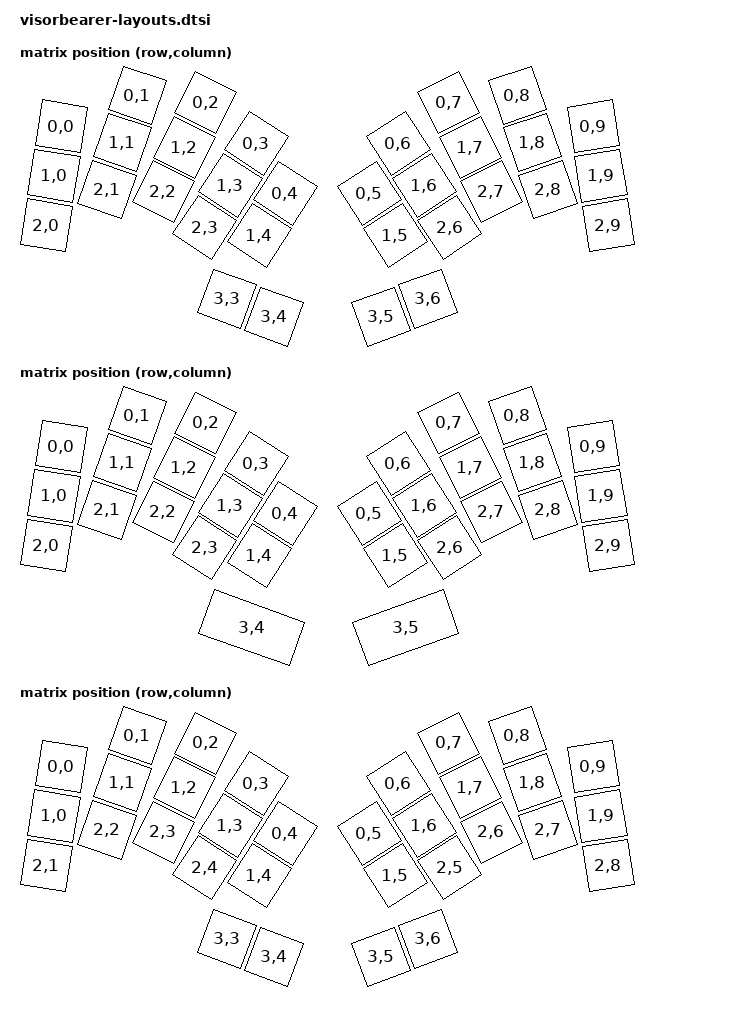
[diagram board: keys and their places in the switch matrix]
#include <physical_layouts.dtsi>

/ {
   visorbearer_33332_transform: visorbearer_33332_transform {
      compatible = "zmk,matrix-transform";
      columns = <10>;
      rows = <4>;

      map = <
            RC(0,0)         RC(0,1)         RC(0,2)         RC(0,3)         RC(0,4)                         RC(0,5)         RC(0,6)         RC(0,7)         RC(0,8)         RC(0,9)
            RC(1,0)         RC(1,1)         RC(1,2)         RC(1,3)         RC(1,4)                         RC(1,5)         RC(1,6)         RC(1,7)         RC(1,8)         RC(1,9)
            RC(2,0)         RC(2,1)         RC(2,2)         RC(2,3)                                                         RC(2,6)         RC(2,7)         RC(2,8)         RC(2,9)
                                                            RC(3,3)         RC(3,4)                         RC(3,5)         RC(3,6)
      >;
   };

   visorbearer_33332_2u_transform: visorbearer_33332_2u_transform {
      compatible = "zmk,matrix-transform";
      columns = <10>;
      rows = <4>;

      map = <
            RC(0,0)         RC(0,1)         RC(0,2)         RC(0,3)         RC(0,4)                         RC(0,5)         RC(0,6)         RC(0,7)         RC(0,8)         RC(0,9)
            RC(1,0)         RC(1,1)         RC(1,2)         RC(1,3)         RC(1,4)                         RC(1,5)         RC(1,6)         RC(1,7)         RC(1,8)         RC(1,9)
            RC(2,0)         RC(2,1)         RC(2,2)         RC(2,3)                                                         RC(2,6)         RC(2,7)         RC(2,8)         RC(2,9)
                                                                            RC(3,4)                         RC(3,5)
      >;
   };

   visorbearer_23332_transform: visorbearer_23332_transform {
      compatible = "zmk,matrix-transform";
      columns = <10>;
      rows = <4>;

      map = <
            RC(0,0)         RC(0,1)         RC(0,2)         RC(0,3)         RC(0,4)                         RC(0,5)         RC(0,6)         RC(0,7)         RC(0,8)         RC(0,9)
            RC(1,0)         RC(1,1)         RC(1,2)         RC(1,3)         RC(1,4)                         RC(1,5)         RC(1,6)         RC(1,7)         RC(1,8)         RC(1,9)
                            RC(2,1)         RC(2,2)         RC(2,3)         RC(2,4)                         RC(2,5)         RC(2,6)         RC(2,7)         RC(2,8)
                                                            RC(3,3)         RC(3,4)                         RC(3,5)         RC(3,6)
      >;
   };

   visorbearer_23332_2u_transform: visorbearer_23332_2u_transform {
      compatible = "zmk,matrix-transform";
      columns = <10>;
      rows = <4>;

      map = <
            RC(0,0)         RC(0,1)         RC(0,2)         RC(0,3)         RC(0,4)                         RC(0,5)         RC(0,6)         RC(0,7)         RC(0,8)         RC(0,9)
            RC(1,0)         RC(1,1)         RC(1,2)         RC(1,3)         RC(1,4)                         RC(1,5)         RC(1,6)         RC(1,7)         RC(1,8)         RC(1,9)
                            RC(2,1)         RC(2,2)         RC(2,3)         RC(2,4)                         RC(2,5)         RC(2,6)         RC(2,7)         RC(2,8)
                                                                            RC(3,4)                         RC(3,5)
      >;
   };

   visorbearer_l23332_transform: visorbearer_l23332_transform {
      compatible = "zmk,matrix-transform";
      columns = <10>;
      rows = <4>;

      map = <
                            RC(0,1)         RC(0,2)         RC(0,3)         RC(0,4)                         RC(0,5)         RC(0,6)         RC(0,7)         RC(0,8)
            RC(1,0)         RC(1,1)         RC(1,2)         RC(1,3)         RC(1,4)                         RC(1,5)         RC(1,6)         RC(1,7)         RC(1,8)         RC(1,9)
            RC(2,0)         RC(2,1)         RC(2,2)         RC(2,3)         RC(2,4)                         RC(2,5)         RC(2,6)         RC(2,7)         RC(2,8)         RC(2,9)
                                                            RC(3,3)         RC(3,4)                         RC(3,5)         RC(3,6)
      >;
   };

   visorbearer_l23332_2u_transform: visorbearer_l23332_2u_transform {
      compatible = "zmk,matrix-transform";
      columns = <10>;
      rows = <4>;

      map = <
                            RC(0,1)         RC(0,2)         RC(0,3)         RC(0,4)                         RC(0,5)         RC(0,6)         RC(0,7)         RC(0,8)
            RC(1,0)         RC(1,1)         RC(1,2)         RC(1,3)         RC(1,4)                         RC(1,5)         RC(1,6)         RC(1,7)         RC(1,8)         RC(1,9)
            RC(2,0)         RC(2,1)         RC(2,2)         RC(2,3)         RC(2,4)                         RC(2,5)         RC(2,6)         RC(2,7)         RC(2,8)         RC(2,9)
                                                                            RC(3,4)                         RC(3,5)
      >;
   };

   visorbearer_13332_transform: visorbearer_13332_transform {
      compatible = "zmk,matrix-transform";
      columns = <10>;
      rows = <4>;

      map = <
                            RC(0,1)         RC(0,2)         RC(0,3)         RC(0,4)                         RC(0,5)         RC(0,6)         RC(0,7)         RC(0,8)
            RC(1,0)         RC(1,1)         RC(1,2)         RC(1,3)         RC(1,4)                         RC(1,5)         RC(1,6)         RC(1,7)         RC(1,8)         RC(1,9)
                            RC(2,1)         RC(2,2)         RC(2,3)                                                         RC(2,6)         RC(2,7)         RC(2,8)
                                                            RC(3,3)         RC(3,4)                         RC(3,5)         RC(3,6)
      >;
   };

   visorbearer_13332_2u_transform: visorbearer_13332_2u_transform {
      compatible = "zmk,matrix-transform";
      columns = <10>;
      rows = <4>;

      map = <
                            RC(0,1)         RC(0,2)         RC(0,3)         RC(0,4)                         RC(0,5)         RC(0,6)         RC(0,7)         RC(0,8)
            RC(1,0)         RC(1,1)         RC(1,2)         RC(1,3)         RC(1,4)                         RC(1,5)         RC(1,6)         RC(1,7)         RC(1,8)         RC(1,9)
                            RC(2,1)         RC(2,2)         RC(2,3)                                                         RC(2,6)         RC(2,7)         RC(2,8)
                                                                            RC(3,4)                         RC(3,5)
      >;
   };

   visorbearer_33332_layout: visorbearer_33332_layout {
      compatible = "zmk,physical-layout";
      display-name = "Default 32-key 33332";
      transform = <&visorbearer_33332_transform>;

      keys  //                     w   h    x    y     rot    rx    ry
            = <&key_physical_attrs 100 100   30   62     900    80   112>
            , <&key_physical_attrs 100 100  182    0    1900   232    50>
            , <&key_physical_attrs 100 100  319   15    2700   369    65>
            , <&key_physical_attrs 100 100  420   96    3300   470   146>
            , <&key_physical_attrs 100 100  478  196    3300   528   246>
            , <&key_physical_attrs 100 100  646  196 (-3300)   696   246>
            , <&key_physical_attrs 100 100  704   96 (-3300)   754   146>
            , <&key_physical_attrs 100 100  805   15 (-2700)   855    65>
            , <&key_physical_attrs 100 100  942    0 (-1900)   992    50>
            , <&key_physical_attrs 100 100 1094   62  (-900)  1144   112>
            , <&key_physical_attrs 100 100   15  161     900    65   211>
            , <&key_physical_attrs 100 100  152   94    1900   202   144>
            , <&key_physical_attrs 100 100  276  104    2700   326   154>
            , <&key_physical_attrs 100 100  368  180    3300   418   230>
            , <&key_physical_attrs 100 100  426  280    3300   476   330>
            , <&key_physical_attrs 100 100  698  280 (-3300)   748   330>
            , <&key_physical_attrs 100 100  756  180 (-3300)   806   230>
            , <&key_physical_attrs 100 100  848  104 (-2700)   898   154>
            , <&key_physical_attrs 100 100  972   94 (-1900)  1022   144>
            , <&key_physical_attrs 100 100 1109  161  (-900)  1159   211>
            , <&key_physical_attrs 100 100    0  260     900    50   310>
            , <&key_physical_attrs 100 100  121  189    1900   171   239>
            , <&key_physical_attrs 100 100  234  193    2700   284   243>
            , <&key_physical_attrs 100 100  317  264    3300   367   314>
            , <&key_physical_attrs 100 100  807  264 (-3300)   857   314>
            , <&key_physical_attrs 100 100  890  193 (-2700)   940   243>
            , <&key_physical_attrs 100 100 1003  189 (-1900)  1053   239>
            , <&key_physical_attrs 100 100 1124  260  (-900)  1174   310>
            , <&key_physical_attrs 100 100  361  407    2000   411   457>
            , <&key_physical_attrs 100 100  455  443    2000   505   493>
            , <&key_physical_attrs 100 100  669  443 (-2000)   719   493>
            , <&key_physical_attrs 100 100  763  407 (-2000)   813   457>
            ;
   };

   visorbearer_33332_2u_layout: visorbearer_33332_2u_layout {
      compatible = "zmk,physical-layout";
      display-name = "30-key 33332+2U";
      transform = <&visorbearer_33332_2u_transform>;

      keys  //                     w   h    x    y     rot    rx    ry
            = <&key_physical_attrs 100 100   30   62     900    80   112>
            , <&key_physical_attrs 100 100  182    0    1900   232    50>
            , <&key_physical_attrs 100 100  319   15    2700   369    65>
            , <&key_physical_attrs 100 100  420   96    3300   470   146>
            , <&key_physical_attrs 100 100  478  196    3300   528   246>
            , <&key_physical_attrs 100 100  646  196 (-3300)   696   246>
            , <&key_physical_attrs 100 100  704   96 (-3300)   754   146>
            , <&key_physical_attrs 100 100  805   15 (-2700)   855    65>
            , <&key_physical_attrs 100 100  942    0 (-1900)   992    50>
            , <&key_physical_attrs 100 100 1094   62  (-900)  1144   112>
            , <&key_physical_attrs 100 100   15  161     900    65   211>
            , <&key_physical_attrs 100 100  152   94    1900   202   144>
            , <&key_physical_attrs 100 100  276  104    2700   326   154>
            , <&key_physical_attrs 100 100  368  180    3300   418   230>
            , <&key_physical_attrs 100 100  426  280    3300   476   330>
            , <&key_physical_attrs 100 100  698  280 (-3300)   748   330>
            , <&key_physical_attrs 100 100  756  180 (-3300)   806   230>
            , <&key_physical_attrs 100 100  848  104 (-2700)   898   154>
            , <&key_physical_attrs 100 100  972   94 (-1900)  1022   144>
            , <&key_physical_attrs 100 100 1109  161  (-900)  1159   211>
            , <&key_physical_attrs 100 100    0  260     900    50   310>
            , <&key_physical_attrs 100 100  121  189    1900   171   239>
            , <&key_physical_attrs 100 100  234  193    2700   284   243>
            , <&key_physical_attrs 100 100  317  264    3300   367   314>
            , <&key_physical_attrs 100 100  807  264 (-3300)   857   314>
            , <&key_physical_attrs 100 100  890  193 (-2700)   940   243>
            , <&key_physical_attrs 100 100 1003  189 (-1900)  1053   239>
            , <&key_physical_attrs 100 100 1124  260  (-900)  1174   310>
            , <&key_physical_attrs 200 100  361  425    2000   461   475>
            , <&key_physical_attrs 200 100  669  425 (-2000)   769   475>
            ;
   };

   visorbearer_23332_layout: visorbearer_23332_layout {
      compatible = "zmk,physical-layout";
      display-name = "30-key 23332 Hummingbird";
      transform = <&visorbearer_23332_transform>;

      keys  //                     w   h    x    y     rot    rx    ry
            = <&key_physical_attrs 100 100   30   62     900    80   112>
            , <&key_physical_attrs 100 100  182    0    1900   232    50>
            , <&key_physical_attrs 100 100  319   15    2700   369    65>
            , <&key_physical_attrs 100 100  420   96    3300   470   146>
            , <&key_physical_attrs 100 100  478  196    3300   528   246>
            , <&key_physical_attrs 100 100  646  196 (-3300)   696   246>
            , <&key_physical_attrs 100 100  704   96 (-3300)   754   146>
            , <&key_physical_attrs 100 100  805   15 (-2700)   855    65>
            , <&key_physical_attrs 100 100  942    0 (-1900)   992    50>
            , <&key_physical_attrs 100 100 1094   62  (-900)  1144   112>
            , <&key_physical_attrs 100 100   15  161     900    65   211>
            , <&key_physical_attrs 100 100  152   94    1900   202   144>
            , <&key_physical_attrs 100 100  276  104    2700   326   154>
            , <&key_physical_attrs 100 100  368  180    3300   418   230>
            , <&key_physical_attrs 100 100  426  280    3300   476   330>
            , <&key_physical_attrs 100 100  698  280 (-3300)   748   330>
            , <&key_physical_attrs 100 100  756  180 (-3300)   806   230>
            , <&key_physical_attrs 100 100  848  104 (-2700)   898   154>
            , <&key_physical_attrs 100 100  972   94 (-1900)  1022   144>
            , <&key_physical_attrs 100 100 1109  161  (-900)  1159   211>
            , <&key_physical_attrs 100 100  121  189    1900   171   239>
            , <&key_physical_attrs 100 100  234  193    2700   284   243>
            , <&key_physical_attrs 100 100  317  264    3300   367   314>
            , <&key_physical_attrs 100 100  807  264 (-3300)   857   314>
            , <&key_physical_attrs 100 100  890  193 (-2700)   940   243>
            , <&key_physical_attrs 100 100 1003  189 (-1900)  1053   239>
            , <&key_physical_attrs 100 100  361  407    2000   411   457>
            , <&key_physical_attrs 100 100  455  443    2000   505   493>
            , <&key_physical_attrs 100 100  669  443 (-2000)   719   493>
            , <&key_physical_attrs 100 100  763  407 (-2000)   813   457>
            ;
   };

   visorbearer_23332_2u_layout: visorbearer_23332_2u_layout {
      compatible = "zmk,physical-layout";
      display-name = "28-key 23332+2U";
      transform = <&visorbearer_23332_2u_transform>;

      keys  //                     w   h    x    y     rot    rx    ry
            = <&key_physical_attrs 100 100   30   62     900    80   112>
            , <&key_physical_attrs 100 100  182    0    1900   232    50>
            , <&key_physical_attrs 100 100  319   15    2700   369    65>
            , <&key_physical_attrs 100 100  420   96    3300   470   146>
            , <&key_physical_attrs 100 100  478  196    3300   528   246>
            , <&key_physical_attrs 100 100  646  196 (-3300)   696   246>
            , <&key_physical_attrs 100 100  704   96 (-3300)   754   146>
            , <&key_physical_attrs 100 100  805   15 (-2700)   855    65>
            , <&key_physical_attrs 100 100  942    0 (-1900)   992    50>
            , <&key_physical_attrs 100 100 1094   62  (-900)  1144   112>
            , <&key_physical_attrs 100 100   15  161     900    65   211>
            , <&key_physical_attrs 100 100  152   94    1900   202   144>
            , <&key_physical_attrs 100 100  276  104    2700   326   154>
            , <&key_physical_attrs 100 100  368  180    3300   418   230>
            , <&key_physical_attrs 100 100  426  280    3300   476   330>
            , <&key_physical_attrs 100 100  698  280 (-3300)   748   330>
            , <&key_physical_attrs 100 100  756  180 (-3300)   806   230>
            , <&key_physical_attrs 100 100  848  104 (-2700)   898   154>
            , <&key_physical_attrs 100 100  972   94 (-1900)  1022   144>
            , <&key_physical_attrs 100 100 1109  161  (-900)  1159   211>
            , <&key_physical_attrs 100 100  121  189    1900   171   239>
            , <&key_physical_attrs 100 100  234  193    2700   284   243>
            , <&key_physical_attrs 100 100  317  264    3300   367   314>
            , <&key_physical_attrs 100 100  807  264 (-3300)   857   314>
            , <&key_physical_attrs 100 100  890  193 (-2700)   940   243>
            , <&key_physical_attrs 100 100 1003  189 (-1900)  1053   239>
            , <&key_physical_attrs 200 100  361  425    2000   461   475>
            , <&key_physical_attrs 200 100  669  425 (-2000)   769   475>
            ;
   };

   visorbearer_l23332_layout: visorbearer_l23332_layout {
      compatible = "zmk,physical-layout";
      display-name = "30-key L23332";
      transform = <&visorbearer_l23332_transform>;

      keys  //                     w   h    x    y     rot    rx    ry
            = <&key_physical_attrs 100 100  182    0    1900   232    50>
            , <&key_physical_attrs 100 100  319   15    2700   369    65>
            , <&key_physical_attrs 100 100  420   96    3300   470   146>
            , <&key_physical_attrs 100 100  478  196    3300   528   246>
            , <&key_physical_attrs 100 100  646  196 (-3300)   696   246>
            , <&key_physical_attrs 100 100  704   96 (-3300)   754   146>
            , <&key_physical_attrs 100 100  805   15 (-2700)   855    65>
            , <&key_physical_attrs 100 100  942    0 (-1900)   992    50>
            , <&key_physical_attrs 100 100   15  161     900    65   211>
            , <&key_physical_attrs 100 100  152   94    1900   202   144>
            , <&key_physical_attrs 100 100  276  104    2700   326   154>
            , <&key_physical_attrs 100 100  368  180    3300   418   230>
            , <&key_physical_attrs 100 100  426  280    3300   476   330>
            , <&key_physical_attrs 100 100  698  280 (-3300)   748   330>
            , <&key_physical_attrs 100 100  756  180 (-3300)   806   230>
            , <&key_physical_attrs 100 100  848  104 (-2700)   898   154>
            , <&key_physical_attrs 100 100  972   94 (-1900)  1022   144>
            , <&key_physical_attrs 100 100 1109  161  (-900)  1159   211>
            , <&key_physical_attrs 100 100    0  260     900    50   310>
            , <&key_physical_attrs 100 100  121  189    1900   171   239>
            , <&key_physical_attrs 100 100  234  193    2700   284   243>
            , <&key_physical_attrs 100 100  317  264    3300   367   314>
            , <&key_physical_attrs 100 100  807  264 (-3300)   857   314>
            , <&key_physical_attrs 100 100  890  193 (-2700)   940   243>
            , <&key_physical_attrs 100 100 1003  189 (-1900)  1053   239>
            , <&key_physical_attrs 100 100 1124  260  (-900)  1174   310>
            , <&key_physical_attrs 100 100  361  407    2000   411   457>
            , <&key_physical_attrs 100 100  455  443    2000   505   493>
            , <&key_physical_attrs 100 100  669  443 (-2000)   719   493>
            , <&key_physical_attrs 100 100  763  407 (-2000)   813   457>
            ;
   };

   visorbearer_l23332_2u_layout: visorbearer_l23332_2u_layout {
      compatible = "zmk,physical-layout";
      display-name = "28-key L23332+2U Grumpy";
      transform = <&visorbearer_l23332_2u_transform>;

      keys  //                     w   h    x    y     rot    rx    ry
            = <&key_physical_attrs 100 100  182    0    1900   232    50>
            , <&key_physical_attrs 100 100  319   15    2700   369    65>
            , <&key_physical_attrs 100 100  420   96    3300   470   146>
            , <&key_physical_attrs 100 100  478  196    3300   528   246>
            , <&key_physical_attrs 100 100  646  196 (-3300)   696   246>
            , <&key_physical_attrs 100 100  704   96 (-3300)   754   146>
            , <&key_physical_attrs 100 100  805   15 (-2700)   855    65>
            , <&key_physical_attrs 100 100  942    0 (-1900)   992    50>
            , <&key_physical_attrs 100 100   15  161     900    65   211>
            , <&key_physical_attrs 100 100  152   94    1900   202   144>
            , <&key_physical_attrs 100 100  276  104    2700   326   154>
            , <&key_physical_attrs 100 100  368  180    3300   418   230>
            , <&key_physical_attrs 100 100  426  280    3300   476   330>
            , <&key_physical_attrs 100 100  698  280 (-3300)   748   330>
            , <&key_physical_attrs 100 100  756  180 (-3300)   806   230>
            , <&key_physical_attrs 100 100  848  104 (-2700)   898   154>
            , <&key_physical_attrs 100 100  972   94 (-1900)  1022   144>
            , <&key_physical_attrs 100 100 1109  161  (-900)  1159   211>
            , <&key_physical_attrs 100 100    0  260     900    50   310>
            , <&key_physical_attrs 100 100  121  189    1900   171   239>
            , <&key_physical_attrs 100 100  234  193    2700   284   243>
            , <&key_physical_attrs 100 100  317  264    3300   367   314>
            , <&key_physical_attrs 100 100  807  264 (-3300)   857   314>
            , <&key_physical_attrs 100 100  890  193 (-2700)   940   243>
            , <&key_physical_attrs 100 100 1003  189 (-1900)  1053   239>
            , <&key_physical_attrs 100 100 1124  260  (-900)  1174   310>
            , <&key_physical_attrs 200 100  361  425    2000   461   475>
            , <&key_physical_attrs 200 100  669  425 (-2000)   769   475>
            ;
   };

   visorbearer_13332_layout: visorbearer_13332_layout {
      compatible = "zmk,physical-layout";
      display-name = "28-key 13332 Zilpzalp";
      transform = <&visorbearer_13332_transform>;

      keys  //                     w   h    x    y     rot    rx    ry
            = <&key_physical_attrs 100 100  182    0    1900   232    50>
            , <&key_physical_attrs 100 100  319   15    2700   369    65>
            , <&key_physical_attrs 100 100  420   96    3300   470   146>
            , <&key_physical_attrs 100 100  478  196    3300   528   246>
            , <&key_physical_attrs 100 100  646  196 (-3300)   696   246>
            , <&key_physical_attrs 100 100  704   96 (-3300)   754   146>
            , <&key_physical_attrs 100 100  805   15 (-2700)   855    65>
            , <&key_physical_attrs 100 100  942    0 (-1900)   992    50>
            , <&key_physical_attrs 100 100   15  161     900    65   211>
            , <&key_physical_attrs 100 100  152   94    1900   202   144>
            , <&key_physical_attrs 100 100  276  104    2700   326   154>
            , <&key_physical_attrs 100 100  368  180    3300   418   230>
            , <&key_physical_attrs 100 100  426  280    3300   476   330>
            , <&key_physical_attrs 100 100  698  280 (-3300)   748   330>
            , <&key_physical_attrs 100 100  756  180 (-3300)   806   230>
            , <&key_physical_attrs 100 100  848  104 (-2700)   898   154>
            , <&key_physical_attrs 100 100  972   94 (-1900)  1022   144>
            , <&key_physical_attrs 100 100 1109  161  (-900)  1159   211>
            , <&key_physical_attrs 100 100  121  189    1900   171   239>
            , <&key_physical_attrs 100 100  234  193    2700   284   243>
            , <&key_physical_attrs 100 100  317  264    3300   367   314>
            , <&key_physical_attrs 100 100  807  264 (-3300)   857   314>
            , <&key_physical_attrs 100 100  890  193 (-2700)   940   243>
            , <&key_physical_attrs 100 100 1003  189 (-1900)  1053   239>
            , <&key_physical_attrs 100 100  361  407    2000   411   457>
            , <&key_physical_attrs 100 100  455  443    2000   505   493>
            , <&key_physical_attrs 100 100  669  443 (-2000)   719   493>
            , <&key_physical_attrs 100 100  763  407 (-2000)   813   457>
            ;
   };

   visorbearer_13332_2u_layout: visorbearer_13332_2u_layout {
      compatible = "zmk,physical-layout";
      display-name = "26-key 13332+2U akohekohe";
      transform = <&visorbearer_13332_2u_transform>;

      keys  //                     w   h    x    y     rot    rx    ry
            = <&key_physical_attrs 100 100  182    0    1900   232    50>
            , <&key_physical_attrs 100 100  319   15    2700   369    65>
            , <&key_physical_attrs 100 100  420   96    3300   470   146>
            , <&key_physical_attrs 100 100  478  196    3300   528   246>
            , <&key_physical_attrs 100 100  646  196 (-3300)   696   246>
            , <&key_physical_attrs 100 100  704   96 (-3300)   754   146>
            , <&key_physical_attrs 100 100  805   15 (-2700)   855    65>
            , <&key_physical_attrs 100 100  942    0 (-1900)   992    50>
            , <&key_physical_attrs 100 100   15  161     900    65   211>
            , <&key_physical_attrs 100 100  152   94    1900   202   144>
            , <&key_physical_attrs 100 100  276  104    2700   326   154>
            , <&key_physical_attrs 100 100  368  180    3300   418   230>
            , <&key_physical_attrs 100 100  426  280    3300   476   330>
            , <&key_physical_attrs 100 100  698  280 (-3300)   748   330>
            , <&key_physical_attrs 100 100  756  180 (-3300)   806   230>
            , <&key_physical_attrs 100 100  848  104 (-2700)   898   154>
            , <&key_physical_attrs 100 100  972   94 (-1900)  1022   144>
            , <&key_physical_attrs 100 100 1109  161  (-900)  1159   211>
            , <&key_physical_attrs 100 100  121  189    1900   171   239>
            , <&key_physical_attrs 100 100  234  193    2700   284   243>
            , <&key_physical_attrs 100 100  317  264    3300   367   314>
            , <&key_physical_attrs 100 100  807  264 (-3300)   857   314>
            , <&key_physical_attrs 100 100  890  193 (-2700)   940   243>
            , <&key_physical_attrs 100 100 1003  189 (-1900)  1053   239>
            , <&key_physical_attrs 200 100  361  425    2000   461   475>
            , <&key_physical_attrs 200 100  669  425 (-2000)   769   475>
            ;
   };

   visorbearer_position_map {
      compatible = "zmk,physical-layout-position-map";

      visorbearer_33332_map: visorbearer_33332_map {
         physical-layout = <&visorbearer_33332_layout>;
         positions = <29 30>;
      };

      visorbearer_33332_2u_map: visorbearer_33332_2u_map {
         physical-layout = <&visorbearer_33332_2u_layout>;
         positions = <28 29>;
      };

      visorbearer_23332_map: visorbearer_23332_map {
         physical-layout = <&visorbearer_23332_layout>;
         positions = <27 28>;
      };

      visorbearer_23332_2u_map: visorbearer_23332_2u_map {
         physical-layout = <&visorbearer_23332_2u_layout>;
         positions = <26 27>;
      };

      visorbearer_l23332_map: visorbearer_l23332_map {
         physical-layout = <&visorbearer_l23332_layout>;
         positions = <27 28>;
      };

      visorbearer_l23332_2u_map: visorbearer_l23332_2u_map {
         physical-layout = <&visorbearer_l23332_2u_layout>;
         positions = <26 27>;
      };

      visorbearer_13332_map: visorbearer_13332_map {
         physical-layout = <&visorbearer_13332_layout>;
         positions = <25 26>;
      };

      visorbearer_13332_2u_map: visorbearer_13332_2u_map {
         physical-layout = <&visorbearer_13332_2u_layout>;
         positions = <24 25>;
      };
   };
};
